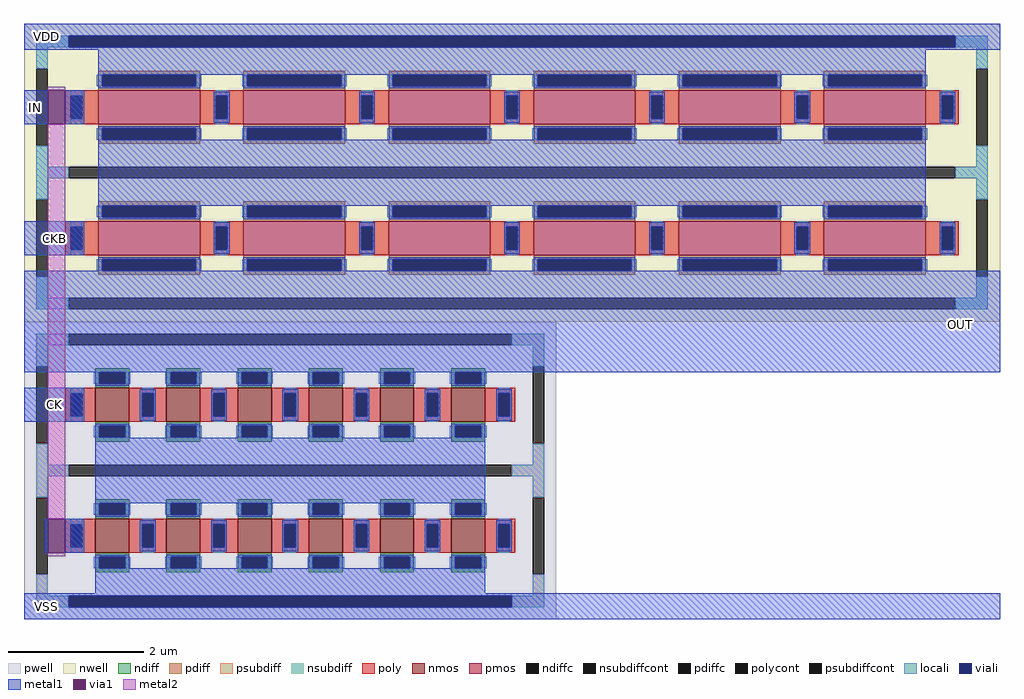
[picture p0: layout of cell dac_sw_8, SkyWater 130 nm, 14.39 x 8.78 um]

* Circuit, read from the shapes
.subckt dac_sw_8 VDD IN CKB CK VSS OUT
XM1 n1 IN VSS VSS sky130_fd_pr__nfet_01v8 w=0.5 l=0.5 m=6
XM2 OUT CK n1 VSS sky130_fd_pr__nfet_01v8 w=0.5 l=0.5 m=6
XM3 n2 CKB OUT VDD sky130_fd_pr__pfet_01v8 w=1.5 l=0.5 m=6
XM4 VDD IN n2 VDD sky130_fd_pr__pfet_01v8 w=1.5 l=0.5 m=6
.ends

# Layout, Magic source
magic
tech sky130A
magscale 1 2
<< viali >>
rect 238 1527 2852 1561
rect 238 -123 1544 -89
<< metal1 >>
rect 106 1561 2984 1597
rect 106 1527 238 1561
rect 2852 1527 2984 1561
rect 106 1521 2984 1527
rect 325 1447 2765 1521
rect 106 1301 176 1401
rect 228 1301 284 1401
rect 325 1061 2765 1255
rect 106 915 284 1015
rect 106 569 2984 869
rect 106 423 284 523
rect 316 183 1466 376
rect 166 37 176 137
rect 228 37 284 137
rect 316 -83 1466 -9
rect 106 -89 2984 -83
rect 106 -123 238 -89
rect 1544 -123 2984 -89
rect 106 -159 2984 -123
<< via1 >>
rect 176 1301 228 1401
rect 176 37 228 137
<< metal2 >>
rect 176 1401 228 1411
rect 176 137 228 1301
rect 176 27 228 37
use sky130_fd_pr__nfet_01v8_54GLWN  sky130_fd_pr__nfet_01v8_54GLWN_0
transform 0 1 891 -1 0 87
box -246 -785 246 785
use sky130_fd_pr__pfet_01v8_NMY8JJ  sky130_fd_pr__pfet_01v8_NMY8JJ_0
transform 0 1 1545 -1 0 965
box -246 -1439 246 1439
use sky130_fd_pr__pfet_01v8_NMY8JJ  XM1
transform 0 1 1545 -1 0 1351
box -246 -1439 246 1439
use sky130_fd_pr__nfet_01v8_54GLWN  XM3
transform 0 1 891 -1 0 473
box -246 -785 246 785
<< labels >>
flabel metal1 106 1521 238 1597 0 FreeSans 400 0 0 0 VDD
port 0 nsew
flabel metal1 106 1301 176 1401 0 FreeSans 400 0 0 0 IN
port 2 nsew
flabel metal1 106 915 284 1015 0 FreeSans 400 0 0 0 CKB
port 3 nsew
flabel metal1 106 423 284 523 0 FreeSans 400 0 0 0 CK
port 4 nsew
flabel metal1 106 -159 238 -83 0 FreeSans 400 0 0 0 VSS
port 5 nsew
flabel metal1 2802 673 2934 749 0 FreeSans 400 0 0 0 OUT
port 7 nsew
<< end >>

# cell sky130_fd_pr__nfet_01v8_54GLWN: kit device sky130_fd_pr__nfet_01v8, w 0.5 l 0.5 m 6 nf 1 diffcov 100 polycov 100 guard 1 glc 1 grc 1 gtc 1 gbc 1 tbcov 100 rlcov 100 topc 1 botc 1 poverlap 1 doverlap 0 lmin 0.15 wmin 0.42 compatible {sky130_fd_pr__nfet_01v8 sky130_fd_pr__nfet_01v8_lvt sky130_fd_bs_flash__special_sonosfet_star sky130_fd_pr__nfet_g5v0d10v5 sky130_fd_pr__nfet_05v0_nvt sky130_fd_pr__nfet_03v3_nvt} full_metal 1 viasrc 100 viadrn 100 viagate 100 viagb 0 viagr 0 viagl 0 viagt 0

# cell sky130_fd_pr__pfet_01v8_NMY8JJ: kit device sky130_fd_pr__pfet_01v8, w 1.5 l 0.5 m 6 nf 1 diffcov 100 polycov 100 guard 1 glc 1 grc 1 gtc 1 gbc 1 tbcov 100 rlcov 100 topc 1 botc 1 poverlap 1 doverlap 0 lmin 0.15 wmin 0.42 compatible {sky130_fd_pr__pfet_01v8 sky130_fd_pr__pfet_01v8_lvt sky130_fd_pr__pfet_01v8_hvt sky130_fd_pr__pfet_g5v0d10v5} full_metal 1 viasrc 100 viadrn 100 viagate 100 viagb 0 viagr 0 viagl 0 viagt 0
